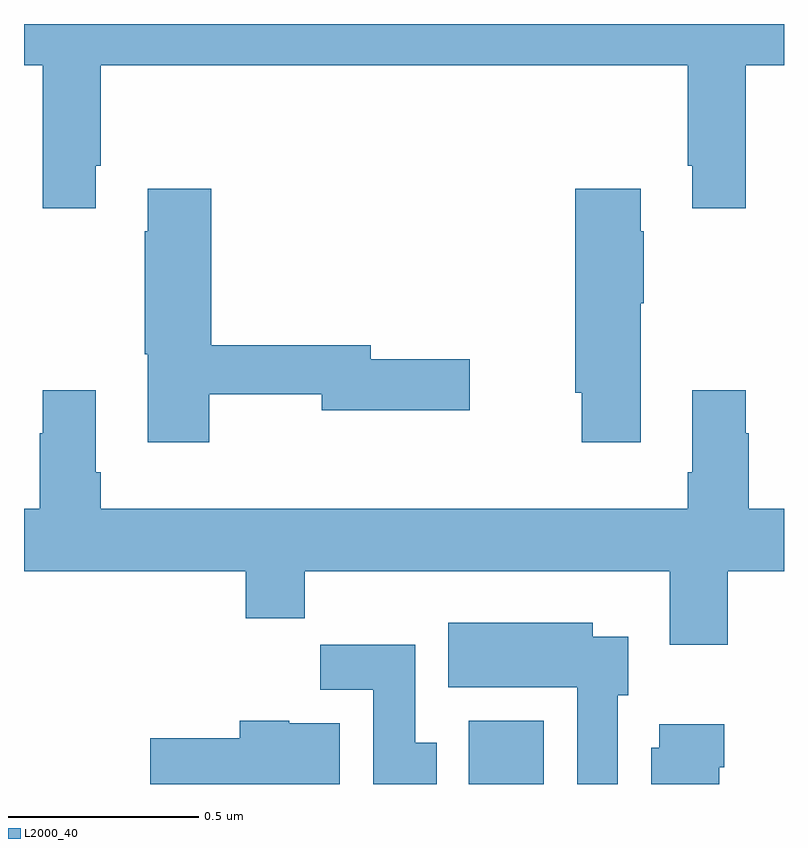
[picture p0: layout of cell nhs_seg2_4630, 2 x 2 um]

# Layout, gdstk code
import gdstk
lib = gdstk.Library(unit=1e-6, precision=1e-09)
def R(c, l, rs):  # rectangles x0, y0, x1, y1
    for r in rs: c.add(gdstk.rectangle(r[:2], r[2:], *l))
def P(c, l, *ps):  # polygons
    for p in ps: c.add(gdstk.Polygon(p, *l))
L2000_40 = (2000, 40)

nhs_seg2_4630 = lib.new_cell('nhs_seg2_4630')
R(nhs_seg2_4630, L2000_40, [(170.171,589.8,170.368,589.966)])
P(nhs_seg2_4630, L2000_40, [(169.189,591.427),(169.202,591.427),(169.202,591.692),(170.747,591.692),(170.747,591.427),(170.759,591.427),(170.759,591.315),(170.899,591.315),(170.899,591.692),(171,591.692),(171,591.8),(169,591.8),(169,591.692),(169.049,591.692),(169.049,591.315),(169.189,591.315)],
  [(169.488,590.826),(169.784,590.826),(169.784,590.783),(170.173,590.783),(170.173,590.918),(169.912,590.918),(169.912,590.954),(169.493,590.954),(169.493,591.367),(169.325,591.367),(169.325,591.254),(169.318,591.254),(169.318,590.931),(169.325,590.931),(169.325,590.7),(169.488,590.7)],
  [(170.623,591.065),(170.631,591.065),(170.631,591.254),(170.623,591.254),(170.623,591.367),(170.45,591.367),(170.45,590.829),(170.468,590.829),(170.468,590.7),(170.623,590.7)],
  [(170.852,590.36),(171,590.36),(171,590.524),(170.907,590.524),(170.907,590.723),(170.899,590.723),(170.899,590.836),(170.759,590.836),(170.759,590.62),(170.747,590.62),(170.747,590.524),(169.202,590.524),(169.202,590.62),(169.189,590.62),(169.189,590.836),(169.049,590.836),(169.049,590.723),(169.042,590.723),(169.042,590.524),(169,590.524),(169,590.36),(169.583,590.36),(169.583,590.236),(169.739,590.236),(169.739,590.36),(170.699,590.36),(170.699,590.166),(170.852,590.166)],
  [(170.563,590.034),(170.59,590.034),(170.59,590.188),(170.497,590.188),(170.497,590.224),(170.117,590.224),(170.117,590.054),(170.456,590.054),(170.456,589.8),(170.563,589.8)],
  [(170.086,589.908),(170.029,589.908),(170.029,590.166),(169.78,590.166),(169.78,590.048),(169.919,590.048),(169.919,589.8),(170.086,589.8)],
  [(169.831,589.96),(169.698,589.96),(169.698,589.966),(169.568,589.966),(169.568,589.92),(169.332,589.92),(169.332,589.8),(169.831,589.8)],
  [(170.83,589.844),(170.843,589.844),(170.843,589.957),(170.672,589.957),(170.672,589.896),(170.651,589.896),(170.651,589.8),(170.83,589.8)])

lib.write_gds('nhs_seg2_4630.gds')
